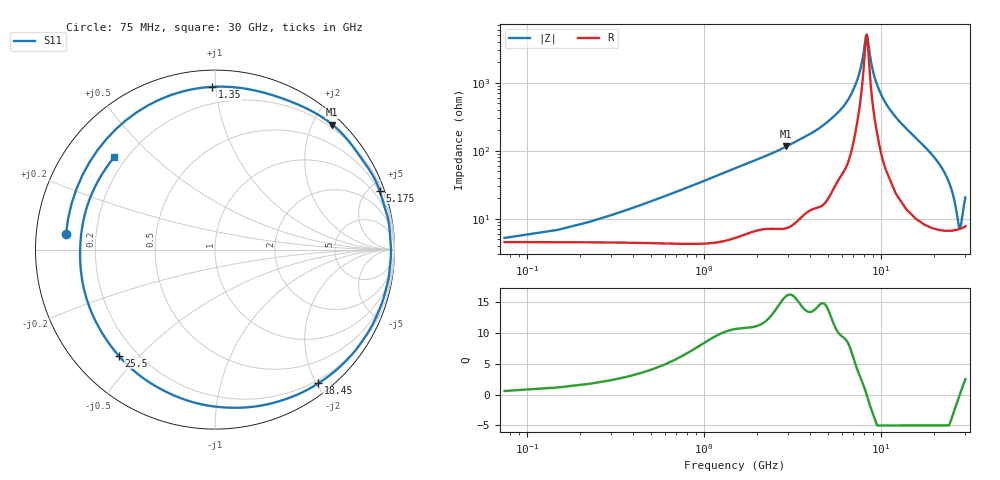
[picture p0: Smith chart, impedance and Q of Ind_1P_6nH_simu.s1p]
#  Hz  S  RI  R  50
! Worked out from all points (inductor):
!   400 points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, 75 MHz to 30 GHz, reference 50 ohm
!   read as one part to ground: L = 5.52 nH near 450 MHz
!   highest Q = 15.9 at 2.925 GHz (marker M1), where L = 6.26 nH
!   self-resonance near 8.25 GHz
!   S11 on the Smith chart (normalised r, x): 75 MHz: 0.09, +0.05; 1.35 GHz: 0.10, +0.98; 5.175 GHz: 0.44, +5.73; 18.45 GHz: 0.15, -2.03; 25.5 GHz: 0.13, -0.44; 30 GHz: 0.15, +0.38
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7.5e7  -0.8302 0.0864
3.75e8  -0.7392 0.4134
6e8  -0.6042 0.6167
7.5e8  -0.4925 0.7234
1.05e9  -0.2477 0.8605
1.35e9  -0.0147 0.9071
1.65e9  0.1774 0.8953
2.025e9  0.3586 0.848
2.475e9  0.5239 0.7794
2.925e9  0.6536 0.6967
3.825e9  0.8024 0.527
5.175e9  0.9172 0.3283
7.575e9  0.9763 0.0658
1.1325e10  0.9465 -0.244
1.5075e10  0.8159 -0.5168
1.695e10  0.7017 -0.6473
1.845e10  0.5761 -0.7446
1.8825e10  0.5394 -0.767
2.07e10  0.3129 -0.8572
2.2575e10  0.0108 -0.8759
2.34e10  -0.1438 -0.8439
2.415e10  -0.2883 -0.7843
2.55e10  -0.5368 -0.591
2.6325e10  -0.6558 -0.4175
2.7225e10  -0.7368 -0.1881
2.8125e10  -0.7484 0.0579
2.895e10  -0.6996 0.2785
3e10  -0.5623 0.5149
